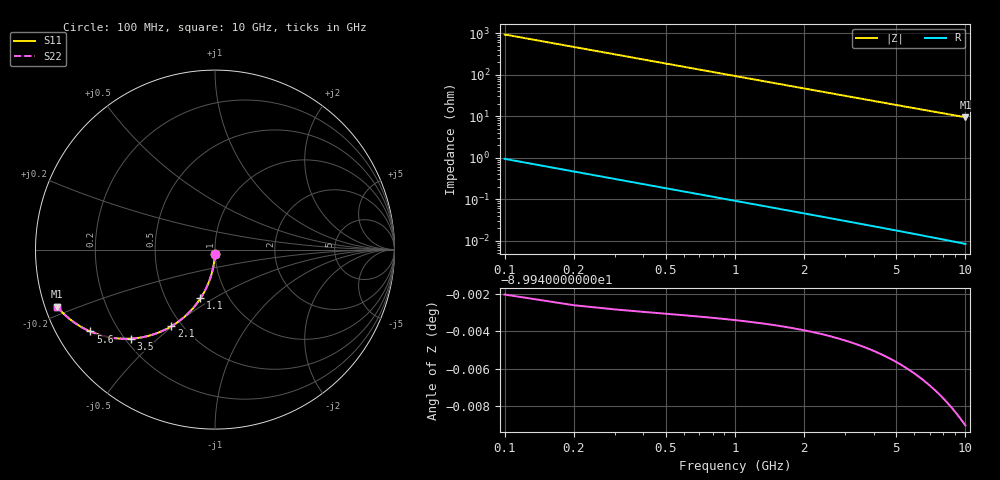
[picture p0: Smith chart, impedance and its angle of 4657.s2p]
# Hz S RI R 50.00
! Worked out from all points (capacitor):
!   100 points, 100 MHz to 10 GHz, reference 50 ohm
!   read as one part in shunt: C = 1.72 pF near 100 MHz
!   lowest |Z| = 9.44 ohm at 10 GHz (marker M1)
!   S11 on the Smith chart (normalised r, x): 100 MHz: 1.00, -0.05; 1.1 GHz: 0.74, -0.44; 2.1 GHz: 0.44, -0.49; 3.5 GHz: 0.22, -0.41; 5.6 GHz: 0.10, -0.30; 10 GHz: 0.03, -0.18
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1e8  -0.000709 -0.0269  0.9992 -0.027  0.9992 -0.027  -0.000709 -0.0269
2e8  -0.00291 -0.0536  0.997 -0.0539  0.997 -0.0539  -0.00291 -0.0536
3e8  -0.00653 -0.0801  0.9934 -0.0805  0.9934 -0.0805  -0.00653 -0.0801
4e8  -0.0115 -0.1062  0.9884 -0.1068  0.9884 -0.1068  -0.0115 -0.1062
5e8  -0.0179 -0.1319  0.982 -0.1326  0.982 -0.1326  -0.0179 -0.1319
6e8  -0.0256 -0.1571  0.9743 -0.1579  0.9743 -0.1579  -0.0256 -0.1571
7e8  -0.0345 -0.1816  0.9654 -0.1825  0.9654 -0.1825  -0.0345 -0.1816
9e8  -0.0557 -0.2283  0.9442 -0.2295  0.9442 -0.2295  -0.0557 -0.2283
1.1e9  -0.0809 -0.2715  0.919 -0.273  0.919 -0.273  -0.0809 -0.2715
1.4e9  -0.1247 -0.329  0.8752 -0.3309  0.8752 -0.3309  -0.1247 -0.329
1.8e9  -0.1905 -0.391  0.8094 -0.3935  0.8094 -0.3935  -0.1905 -0.391
2.1e9  -0.2426 -0.4267  0.7573 -0.4296  0.7573 -0.4296  -0.2426 -0.4267
2.7e9  -0.346 -0.4734  0.6539 -0.4771  0.6539 -0.4771  -0.346 -0.4734
3.4e9  -0.456 -0.4952  0.5438 -0.4999  0.5438 -0.4999  -0.456 -0.4952
3.5e9  -0.4704 -0.4962  0.5295 -0.501  0.5295 -0.501  -0.4704 -0.4962
4.3e9  -0.5727 -0.4912  0.4272 -0.4971  0.4272 -0.4971  -0.5727 -0.4912
5.1e9  -0.6533 -0.4719  0.3466 -0.4789  0.3466 -0.4789  -0.6533 -0.4719
5.6e9  -0.6944 -0.4563  0.3055 -0.464  0.3055 -0.464  -0.6944 -0.4563
6.7e9  -0.7648 -0.4189  0.2351 -0.4282  0.2351 -0.4282  -0.7648 -0.4189
7.5e9  -0.8029 -0.392  0.1969 -0.4024  0.1969 -0.4024  -0.8029 -0.392
8.4e9  -0.8364 -0.3635  0.1634 -0.3752  0.1634 -0.3752  -0.8364 -0.3635
1e10  -0.8788 -0.3187  0.121 -0.3327  0.121 -0.3327  -0.8788 -0.3187
